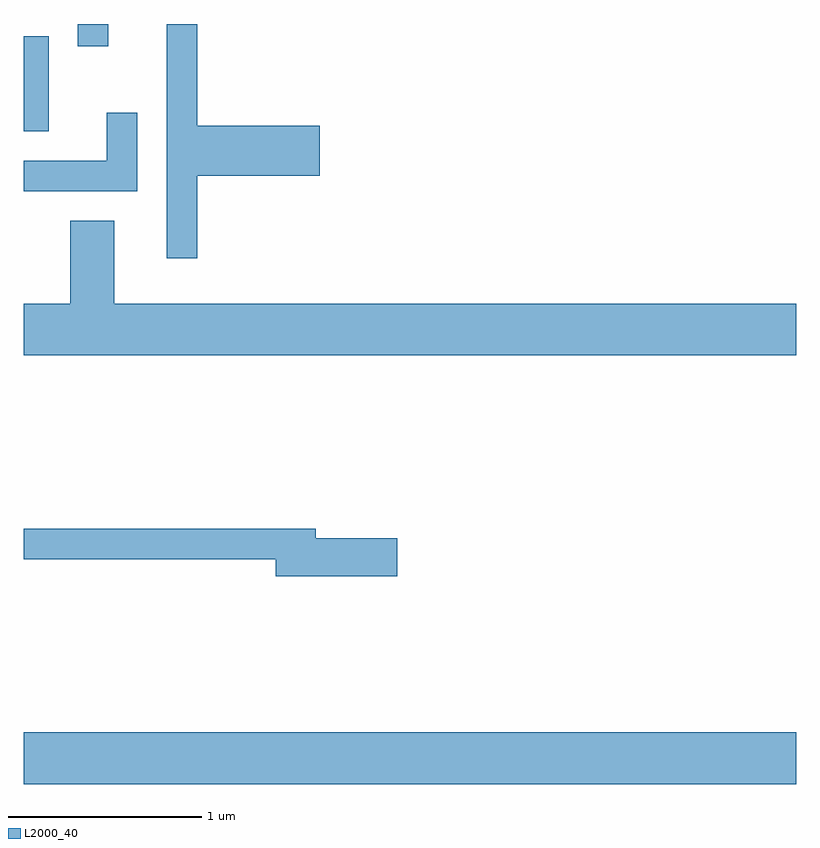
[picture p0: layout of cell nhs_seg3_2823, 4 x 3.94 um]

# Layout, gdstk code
import gdstk
lib = gdstk.Library(unit=1e-6, precision=1e-09)
def R(c, l, rs):  # rectangles x0, y0, x1, y1
    for r in rs: c.add(gdstk.rectangle(r[:2], r[2:], *l))
def P(c, l, *ps):  # polygons
    for p in ps: c.add(gdstk.Polygon(p, *l))
L2000_40 = (2000, 40)

nhs_seg3_2823 = lib.new_cell('nhs_seg3_2823')
R(nhs_seg3_2823, L2000_40, [(267.611,1185.956,271.611,1186.224), (267.611,1189.336,267.739,1189.829), (267.891,1189.778,268.049,1189.892)])
P(nhs_seg3_2823, L2000_40, [(268.509,1189.106),(269.144,1189.106),(269.144,1189.364),(268.509,1189.364),(268.509,1189.892),(268.351,1189.892),(268.351,1188.678),(268.509,1188.678)],
  [(268.199,1189.433),(268.041,1189.433),(268.041,1189.184),(267.611,1189.184),(267.611,1189.026),(268.199,1189.026)],
  [(271.611,1188.444),(268.079,1188.444),(268.079,1188.874),(267.851,1188.874),(267.851,1188.444),(267.611,1188.444),(267.611,1188.176),(271.611,1188.176)],
  [(269.544,1187.229),(269.124,1187.229),(269.124,1187.279),(267.611,1187.279),(267.611,1187.121),(268.916,1187.121),(268.916,1187.031),(269.544,1187.031)])

lib.write_gds('nhs_seg3_2823.gds')
